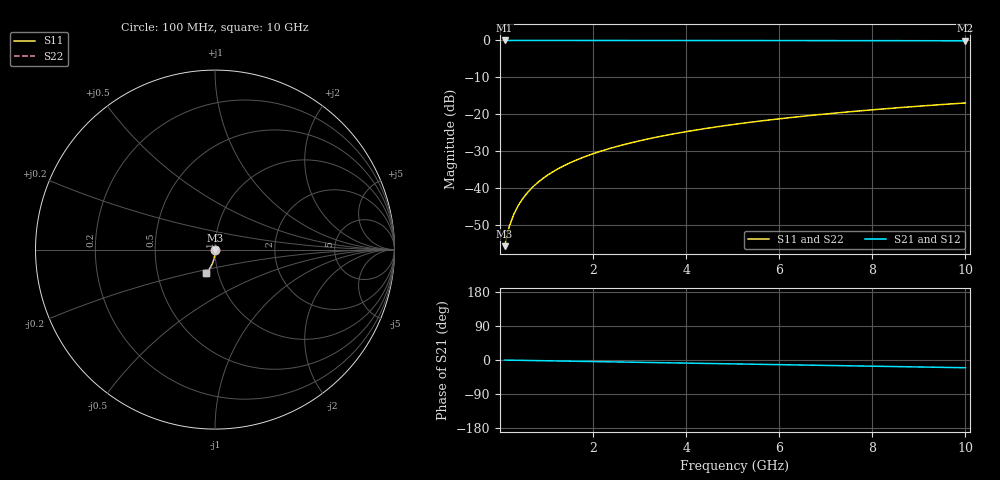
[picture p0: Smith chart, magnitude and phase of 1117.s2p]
# Hz S RI R 50.00
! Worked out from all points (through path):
!   100 points, 100 MHz to 10 GHz, reference 50 ohm
!   highest |S21| = -0.01 dB at 100 MHz (marker M1); lowest = -0.1 dB at 10 GHz (marker M2)
!   group delay of S21, straight-line fit = 5.67 ps
!   lowest |S11| = -55.9 dB at 100 MHz (marker M3), VSWR 1.00, Z = 50.1 - j0.145 ohm
!   |S11| at or under -10 dB: start of sweep to end of sweep
!   |S22| runs from -55.9 to -17.0 dB; largest |S21 - S12| = 0
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1e8  0.000697 -0.00145  0.9993 -0.00356  0.9993 -0.00356  0.000697 -0.00145
2e8  0.000684 -0.0029  0.9993 -0.00713  0.9993 -0.00713  0.000684 -0.0029
3e8  0.00066 -0.00434  0.9992 -0.0107  0.9992 -0.0107  0.00066 -0.00434
4e8  0.000624 -0.00579  0.9992 -0.0143  0.9992 -0.0143  0.000624 -0.00579
5e8  0.000578 -0.00724  0.9991 -0.0178  0.9991 -0.0178  0.000578 -0.00724
6e8  0.000521 -0.00869  0.999 -0.0214  0.999 -0.0214  0.000521 -0.00869
7e8  0.000453 -0.0101  0.9989 -0.0249  0.9989 -0.0249  0.000453 -0.0101
8e8  0.000375 -0.0116  0.9988 -0.0285  0.9988 -0.0285  0.000375 -0.0116
9e8  0.000287 -0.013  0.9987 -0.0321  0.9987 -0.0321  0.000287 -0.013
1.1e9  7.9e-05 -0.0159  0.9983 -0.0392  0.9983 -0.0392  7.9e-05 -0.0159
1.4e9  -0.000311 -0.0202  0.9978 -0.0499  0.9978 -0.0499  -0.000311 -0.0202
1.8e9  -0.000975 -0.026  0.9968 -0.0641  0.9968 -0.0641  -0.000975 -0.026
2.1e9  -0.00158 -0.0303  0.9959 -0.0747  0.9959 -0.0747  -0.00158 -0.0303
2.5e9  -0.00253 -0.036  0.9946 -0.0889  0.9946 -0.0889  -0.00253 -0.036
2.9e9  -0.00365 -0.0417  0.993 -0.1031  0.993 -0.1031  -0.00365 -0.0417
3.4e9  -0.00527 -0.0488  0.9906 -0.1208  0.9906 -0.1208  -0.00527 -0.0488
4.2e9  -0.00838 -0.06  0.9861 -0.1489  0.9861 -0.1489  -0.00838 -0.06
5.1e9  -0.0126 -0.0723  0.98 -0.1803  0.98 -0.1803  -0.0126 -0.0723
5.9e9  -0.0171 -0.083  0.9735 -0.2079  0.9735 -0.2079  -0.0171 -0.083
6.7e9  -0.0221 -0.0935  0.9662 -0.2353  0.9662 -0.2353  -0.0221 -0.0935
8.4e9  -0.0347 -0.1146  0.9477 -0.2925  0.9477 -0.2925  -0.0347 -0.1146
1e10  -0.0488 -0.1329  0.9268 -0.3447  0.9268 -0.3447  -0.0488 -0.1329
